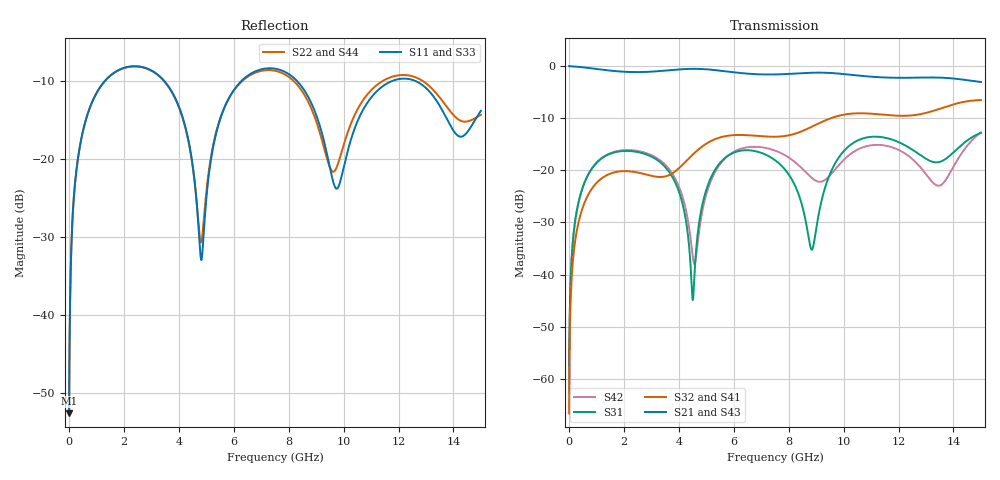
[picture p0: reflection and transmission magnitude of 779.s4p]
! Created with skrf 1.8.0 (http://scikit-rf.org).
# GHz S RI R 50.0
!freq ReS11 ImS11 ReS12 ImS12 ReS13 ImS13
! ReS14 ImS14
! ReS21 ImS21 ReS22 ImS22 ReS23 ImS23
! ReS24 ImS24
! ReS31 ImS31 ReS32 ImS32 ReS33 ImS33
! ReS34 ImS34
! ReS41 ImS41 ReS42 ImS42 ReS43 ImS43
! ReS44 ImS44
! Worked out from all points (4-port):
!   2499 points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, 5 MHz to 15 GHz, reference 50 ohm
!   strongest paths, dB at 5 MHz, 3.476 GHz, 7.19 GHz, 11.1 GHz, 15 GHz:
!     S21: 0.0, -0.9, -1.6, -2.1, -3.1
!     S43: 0.0, -0.9, -1.6, -2.1, -3.0
!     S32: -66.6, -21.2, -13.5, -9.2, -6.5
!     S41: -66.6, -21.2, -13.5, -9.2, -6.5
!     S31: -62.7, -19.2, -17.1, -13.5, -12.8
!     S42: -62.7, -18.8, -15.7, -15.1, -12.7
!   lowest |S11| = -52.6 dB at 5 MHz (marker M1), VSWR 1.00, Z = 50.2 + j0.142 ohm
!   |S11| at or under -10 dB: 3.477 GHz to 6.273 GHz (2.797 GHz wide, 57.4 % of centre); 8.308 GHz to 11.75 GHz (3.446 GHz wide, 34.4 % of centre); 12.63 GHz to end of sweep (the widest 3 of 4)
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0.005  0.00186 0.00142  0.9981 -0.00362  9.38e-05 0.000727  -9.12e-05 -0.000458
       0.9981 -0.00362  0.00186 0.00142  -9.12e-05 -0.000458  9.39e-05 0.000727
       9.38e-05 0.000727  -9.12e-05 -0.000458  0.00186 0.00142  0.9981 -0.00362
       -9.12e-05 -0.000458  9.39e-05 0.000727  0.9981 -0.00362  0.00186 0.00142
0.3126303  0.0299 0.092  0.9592 -0.2242  0.0135 0.0425  -0.0114 -0.0263
           0.9592 -0.2242  0.0298 0.092  -0.0114 -0.0263  0.014 0.0424
           0.0135 0.0425  -0.0114 -0.0263  0.0299 0.092  0.9592 -0.2242
           -0.0114 -0.0263  0.014 0.0424  0.9592 -0.2242  0.0298 0.0921
1.369321  0.273 0.1778  0.5465 -0.7307  0.1241 0.0631  -0.0895 -0.00584
          0.5465 -0.7307  0.2714 0.1789  -0.0895 -0.00585  0.1287 0.0568
          0.1241 0.0631  -0.0895 -0.00585  0.2729 0.1778  0.5466 -0.7307
          -0.0895 -0.00584  0.1287 0.0568  0.5466 -0.7307  0.2714 0.1788
4.508128  0.0382 -0.0817  -0.9042 -0.2612  0.00569 0.000229  -0.0347 0.1375
          -0.9042 -0.2612  0.0444 -0.0766  -0.0349 0.1374  -0.0129 -0.00743
          0.00569 0.000229  -0.0349 0.1374  0.0372 -0.0806  -0.9043 -0.261
          -0.0347 0.1375  -0.0129 -0.00743  -0.9043 -0.261  0.0447 -0.0752
5.658608  0.139 0.1619  -0.7829 0.4308  0.1043 0.0776  0.129 0.1679
          -0.7829 0.4308  0.1427 0.1596  0.1289 0.1681  0.105 0.0734
          0.1043 0.0776  0.1289 0.1681  0.1389 0.1639  -0.7826 0.4306
          0.129 0.1679  0.105 0.0734  -0.7826 0.4306  0.1445 0.1604
9.722801  0.0639 -0.0112  0.8473 0.0861  0.0322 0.1161  0.0259 -0.3274
          0.8473 0.0861  0.0851 0.0164  0.0263 -0.3272  -0.0324 0.0992
          0.0322 0.1161  0.0263 -0.3272  0.0649 -0.014  0.847 0.0893
          0.0259 -0.3274  -0.0324 0.0992  0.847 0.0893  0.0846 0.0133
15  0.1907 0.0725  -0.7006 0.0634  0.0179 0.2279  0.0784 0.4647
    -0.7006 0.0634  0.1922 -0.00538  0.0765 0.4663  0.1304 0.1907
    0.0179 0.2279  0.0765 0.4663  0.1853 0.0728  -0.7017 0.0563
    0.0784 0.4647  0.1304 0.1907  -0.7017 0.0563  0.1953 -0.00713
